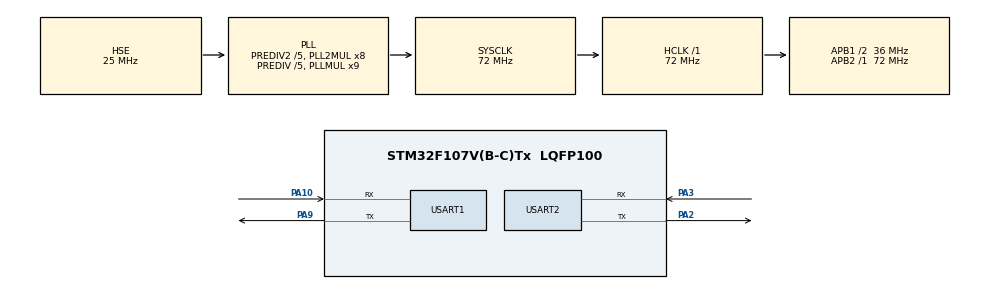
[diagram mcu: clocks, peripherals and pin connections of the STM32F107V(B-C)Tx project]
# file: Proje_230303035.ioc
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Mcu.Family=STM32F1
Mcu.Name=STM32F107V(B-C)Tx
Mcu.Package=LQFP100
NVIC.PriorityGroup=NVIC_PRIORITYGROUP_4
NVIC.USART2_IRQn=true\:0\:0\:false\:false\:true\:true\:true\:true
OSC_IN.Mode=HSE-External-Oscillator
OSC_IN.Signal=RCC_OSC_IN
OSC_OUT.Mode=HSE-External-Oscillator
OSC_OUT.Signal=RCC_OSC_OUT
PA10.Mode=Asynchronous
PA10.Signal=USART1_RX
PA13.Mode=Serial_Wire
PA13.Signal=SYS_JTMS-SWDIO
PA14.Mode=Serial_Wire
PA14.Signal=SYS_JTCK-SWCLK
PA2.Mode=Asynchronous
PA2.Signal=USART2_TX
PA3.Mode=Asynchronous
PA3.Signal=USART2_RX
PA9.Mode=Asynchronous
PA9.Signal=USART1_TX
ProjectManager.HeapSize=0x200
ProjectManager.StackSize=0x400
ProjectManager.TargetToolchain=STM32CubeIDE
RCC.AHBFreq_Value=72000000
RCC.APB1CLKDivider=RCC_HCLK_DIV2
RCC.APB1Freq_Value=36000000
RCC.APB1TimFreq_Value=72000000
RCC.APB2Freq_Value=72000000
RCC.APB2TimFreq_Value=72000000
RCC.HCLKFreq_Value=72000000
RCC.HSEDivPLL=RCC_HSE_PREDIV_DIV5
RCC.HSE_VALUE=25000000
RCC.PLLMUL=RCC_PLL_MUL9
RCC.PLLSourceVirtual=RCC_PLLSOURCE_HSE
RCC.Prediv1Source=RCC_PREDIV1_SOURCE_PLL2
RCC.Prediv2=RCC_HSE_PREDIV2_DIV5
RCC.SYSCLKFreq_VALUE=72000000
RCC.SYSCLKSource=RCC_SYSCLKSOURCE_PLLCLK
RCC.USBFreq_Value=48000000
USART1.VirtualMode=VM_ASYNC
USART2.VirtualMode=VM_ASYNC
board=custom

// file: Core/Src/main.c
/* USER CODE BEGIN Header */
/**
  ******************************************************************************
  * @file           : main.c
  * @brief          : Main program body
  ******************************************************************************
  * @attention
  *
  * Copyright (c) 2026 STMicroelectronics.
  * All rights reserved.
  *
  * This software is licensed under terms that can be found in the LICENSE file
  * in the root directory of this software component.
  * If no LICENSE file comes with this software, it is provided AS-IS.
  *
  ******************************************************************************
  */
/* USER CODE END Header */
#include "main.h"

UART_HandleTypeDef huart1;
UART_HandleTypeDef huart2;

void SystemClock_Config(void);
static void MX_GPIO_Init(void);
static void MX_USART1_UART_Init(void);
static void MX_USART2_UART_Init(void);
/* USER CODE BEGIN PFP */
uint8_t packet[100]; //Paket oluşumu
void Protocol_CreatePacket(uint8_t *data, uint8_t Type, int len){
	packet[0] = 0xAA;
	packet[1] = Type;
	packet[2] = len;
	for(int i = 0; i < len; i++){ //data packet içine kopyalanır
		packet[i+3] = data[i];
	}

	//BCC Hesaplama
	uint8_t BCC = BCC_INIT_VALUE; // öğrenci mod(%) 256 - 59
	for(int i = 0; i < len+2; i++){
		BCC ^= packet[i+1]; // Type, Length, Data; XOR işlemi - 0xA3
	}

	packet[len+3] = BCC;
	packet[len+4] = 0x55;
}
void UART_Gonder(uint8_t * mesaj, int len){
	HAL_UART_Transmit(&huart1, mesaj, len, 0xFFF);
}
/* USER CODE END PFP */

int main(void)
{

  /* MCU Configuration--------------------------------------------------------*/

  /* Reset of all peripherals, Initializes the Flash interface and the Systick. */
  HAL_Init();

  /* Configure the system clock */
  SystemClock_Config();

  /* Initialize all configured peripherals */
  MX_GPIO_Init();
  MX_USART1_UART_Init();
  MX_USART2_UART_Init();
  /* USER CODE BEGIN 2 */
  __HAL_UART_ENABLE_IT(&huart2, UART_IT_RXNE);

  // Öğrenci numarası 4 a bölünür
  uint8_t payload[] = "TEST";
  payload[0] = (STUDENT_NO >> 24) & 0xFF;
  payload[1] = (STUDENT_NO >> 16) & 0xFF;
  payload[2] = (STUDENT_NO >> 8)  & 0xFF;
  payload[3] = (STUDENT_NO)       & 0xFF;

  /* USER CODE END 2 */

  /* Infinite loop */
  while (1)
  {

    /* USER CODE BEGIN 3 */
	  Protocol_CreatePacket(payload, PACKET_TYPE, 4);
	  UART_Gonder(packet, 4+5); // 4 data + START+TYPE+LEN+BCC+STOP
	  HAL_Delay(20);
  }
  /* USER CODE END 3 */
}

void SystemClock_Config(void)
{
  RCC_OscInitTypeDef RCC_OscInitStruct = {0};
  RCC_ClkInitTypeDef RCC_ClkInitStruct = {0};

  /** Initializes the RCC Oscillators according to the specified parameters
  * in the RCC_OscInitTypeDef structure.
  */
  RCC_OscInitStruct.OscillatorType = RCC_OSCILLATORTYPE_HSE;
  RCC_OscInitStruct.HSEState = RCC_HSE_ON;
  RCC_OscInitStruct.HSEPredivValue = RCC_HSE_PREDIV_DIV5;
  RCC_OscInitStruct.HSIState = RCC_HSI_ON;
  RCC_OscInitStruct.Prediv1Source = RCC_PREDIV1_SOURCE_PLL2;
  RCC_OscInitStruct.PLL.PLLState = RCC_PLL_ON;
  RCC_OscInitStruct.PLL.PLLSource = RCC_PLLSOURCE_HSE;
  RCC_OscInitStruct.PLL.PLLMUL = RCC_PLL_MUL9;
  RCC_OscInitStruct.PLL2.PLL2State = RCC_PLL2_ON;
  RCC_OscInitStruct.PLL2.PLL2MUL = RCC_PLL2_MUL8;
  RCC_OscInitStruct.PLL2.HSEPrediv2Value = RCC_HSE_PREDIV2_DIV5;
  if (HAL_RCC_OscConfig(&RCC_OscInitStruct) != HAL_OK)
  {
    Error_Handler();
  }

  /** Initializes the CPU, AHB and APB buses clocks
  */
  RCC_ClkInitStruct.ClockType = RCC_CLOCKTYPE_HCLK|RCC_CLOCKTYPE_SYSCLK
                              |RCC_CLOCKTYPE_PCLK1|RCC_CLOCKTYPE_PCLK2;
  RCC_ClkInitStruct.SYSCLKSource = RCC_SYSCLKSOURCE_PLLCLK;
  RCC_ClkInitStruct.AHBCLKDivider = RCC_SYSCLK_DIV1;
  RCC_ClkInitStruct.APB1CLKDivider = RCC_HCLK_DIV2;
  RCC_ClkInitStruct.APB2CLKDivider = RCC_HCLK_DIV1;

  if (HAL_RCC_ClockConfig(&RCC_ClkInitStruct, FLASH_LATENCY_2) != HAL_OK)
  {
    Error_Handler();
  }

  /** Configure the Systick interrupt time
  */
  __HAL_RCC_PLLI2S_ENABLE();
}

static void MX_USART1_UART_Init(void)
{

  huart1.Instance = USART1;
  huart1.Init.BaudRate = 115200;
  huart1.Init.WordLength = UART_WORDLENGTH_8B;
  huart1.Init.StopBits = UART_STOPBITS_1;
  huart1.Init.Parity = UART_PARITY_NONE;
  huart1.Init.Mode = UART_MODE_TX_RX;
  huart1.Init.HwFlowCtl = UART_HWCONTROL_NONE;
  huart1.Init.OverSampling = UART_OVERSAMPLING_16;
  if (HAL_UART_Init(&huart1) != HAL_OK)
  {
    Error_Handler();
  }

}

static void MX_USART2_UART_Init(void)
{

  huart2.Instance = USART2;
  huart2.Init.BaudRate = 115200;
  huart2.Init.WordLength = UART_WORDLENGTH_8B;
  huart2.Init.StopBits = UART_STOPBITS_1;
  huart2.Init.Parity = UART_PARITY_NONE;
  huart2.Init.Mode = UART_MODE_TX_RX;
  huart2.Init.HwFlowCtl = UART_HWCONTROL_NONE;
  huart2.Init.OverSampling = UART_OVERSAMPLING_16;
  if (HAL_UART_Init(&huart2) != HAL_OK)
  {
    Error_Handler();
  }

}

static void MX_GPIO_Init(void)
{

  /* GPIO Ports Clock Enable */
  __HAL_RCC_GPIOA_CLK_ENABLE();

}

void Error_Handler(void)
{
  __disable_irq();
  while (1)
  {
  }
}
